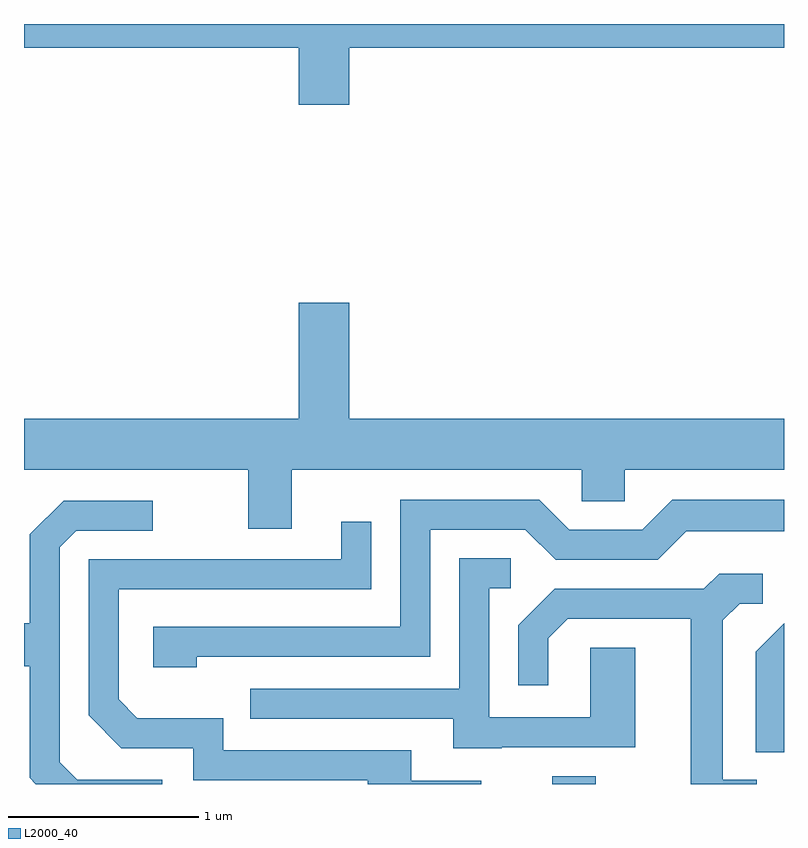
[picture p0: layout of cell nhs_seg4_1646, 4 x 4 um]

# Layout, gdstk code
import gdstk
lib = gdstk.Library(unit=1e-6, precision=1e-09)
def R(c, l, rs):  # rectangles x0, y0, x1, y1
    for r in rs: c.add(gdstk.rectangle(r[:2], r[2:], *l))
def P(c, l, *ps):  # polygons
    for p in ps: c.add(gdstk.Polygon(p, *l))
L2000_40 = (2000, 40)

nhs_seg4_1646 = lib.new_cell('nhs_seg4_1646')
R(nhs_seg4_1646, L2000_40, [(236.391,1281.982,236.619,1282.024)])
P(nhs_seg4_1646, L2000_40, [(235.324,1285.856),(237.611,1285.856),(237.611,1285.982),(233.611,1285.982),(233.611,1285.856),(235.056,1285.856),(235.056,1285.556),(235.324,1285.556)],
  [(235.019,1283.636),(236.546,1283.636),(236.546,1283.471),(236.774,1283.471),(236.774,1283.636),(237.611,1283.636),(237.611,1283.904),(235.324,1283.904),(235.324,1284.514),(235.056,1284.514),(235.056,1283.904),(233.611,1283.904),(233.611,1283.636),(234.791,1283.636),(234.791,1283.326),(235.019,1283.326)],
  [(234.519,1282.651),(235.749,1282.651),(235.749,1283.321),(236.249,1283.321),(236.409,1283.161),(236.947,1283.161),(237.097,1283.311),(237.611,1283.311),(237.611,1283.479),(237.024,1283.479),(236.864,1283.319),(236.482,1283.319),(236.322,1283.479),(235.591,1283.479),(235.591,1282.809),(234.291,1282.809),(234.291,1282.596),(234.519,1282.596)],
  [(234.338,1282.004),(233.892,1282.004),(233.799,1282.097),(233.799,1283.229),(233.887,1283.316),(234.288,1283.316),(234.288,1283.474),(233.819,1283.474),(233.641,1283.297),(233.641,1282.829),(233.611,1282.829),(233.611,1282.601),(233.641,1282.601),(233.641,1282.014),(233.673,1281.982),(234.338,1281.982)],
  [(236.018,1281.999),(235.649,1281.999),(235.649,1282.159),(234.659,1282.159),(234.659,1282.329),(234.207,1282.329),(234.109,1282.427),(234.109,1283.006),(235.439,1283.006),(235.439,1283.363),(235.281,1283.363),(235.281,1283.164),(233.951,1283.164),(233.951,1282.344),(234.124,1282.171),(234.501,1282.171),(234.501,1282.001),(235.421,1282.001),(235.421,1281.982),(236.018,1281.982)],
  [(236.125,1282.176),(236.829,1282.176),(236.829,1282.699),(236.591,1282.699),(236.591,1282.334),(236.059,1282.334),(236.059,1283.011),(236.173,1283.011),(236.173,1283.169),(235.901,1283.169),(235.901,1282.484),(234.803,1282.484),(234.803,1282.326),(235.871,1282.326),(235.871,1282.171),(236.125,1282.171)],
  [(237.468,1282.004),(237.289,1282.004),(237.289,1282.844),(237.377,1282.931),(237.498,1282.931),(237.498,1283.089),(237.269,1283.089),(237.189,1283.009),(236.404,1283.009),(236.211,1282.817),(236.211,1282.503),(236.369,1282.503),(236.369,1282.749),(236.472,1282.851),(237.121,1282.851),(237.121,1281.982),(237.468,1281.982)],
  [(237.611,1282.827),(237.461,1282.677),(237.461,1282.148),(237.611,1282.148)])

lib.write_gds('nhs_seg4_1646.gds')
